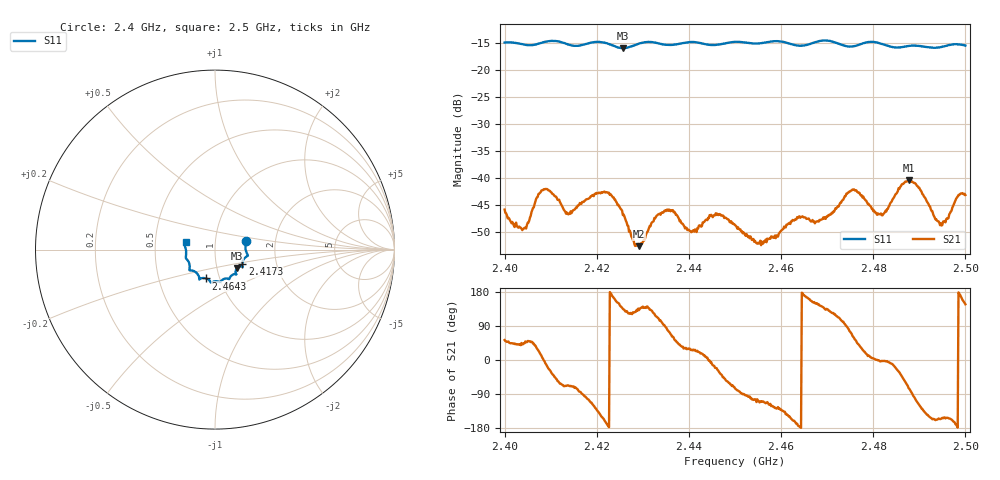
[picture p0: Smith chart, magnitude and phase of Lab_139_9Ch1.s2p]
# Hz S RI R 50
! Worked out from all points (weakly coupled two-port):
!   601 points, 2.4 GHz to 2.5 GHz, reference 50 ohm
!   highest |S21| = -40.41 dB at 2.4877 GHz (marker M1); lowest = -52.7 dB at 2.4292 GHz (marker M2)
!   lowest |S11| = -15.9 dB at 2.4257 GHz (marker M3), VSWR 1.38, Z = 62.4 - j13.1 ohm
!   |S11| at or under -10 dB: start of sweep to end of sweep
!   S12 and S22 are empty: the file has one direction only
!   S11 on the Smith chart (normalised r, x): 2.4 GHz: 1.41, +0.14; 2.4173 GHz: 1.34, -0.23; 2.4643 GHz: 0.86, -0.28; 2.5 GHz: 0.72, +0.06
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2.4e9  0.1731 0.0497  0.00309 0.00404  0 0  0 0
2.404167e9  0.171 0.0233  0.00242 0.00237  0 0  0 0
2.4085e9  0.1801 -0.0251  0.00786 -0.000166  0 0  0 0
2.413667e9  0.1681 -0.0441  0.00184 -0.00428  0 0  0 0
2.416667e9  0.1529 -0.0746  0.000225 -0.00575  0 0  0 0
2.417333e9  0.1525 -0.082  -0.000619 -0.0061  0 0  0 0
2.422167e9  0.1506 -0.0941  -0.00722 -0.00146  0 0  0 0
2.425667e9  0.1225 -0.1025  -0.00319 0.0032  0 0  0 0
2.429167e9  0.1163 -0.132  -0.00155 0.00174  0 0  0 0
2.433333e9  0.1127 -0.1367  -0.00161 0.0043  0 0  0 0
2.440667e9  0.0788 -0.1644  0.00282 0.00144  0 0  0 0
2.446333e9  0.0448 -0.1664  0.00403 -0.00208  0 0  0 0
2.45e9  0.0297 -0.1808  0.000951 -0.00353  0 0  0 0
2.455667e9  -0.00399 -0.1777  -0.000831 -0.00223  0 0  0 0
2.464333e9  -0.0504 -0.1605  -0.00434 -7.18e-05  0 0  0 0
2.466667e9  -0.0764 -0.1598  -0.00362 0.00166  0 0  0 0
2.475667e9  -0.1131 -0.1218  0.00379 0.00684  0 0  0 0
2.480833e9  -0.1426 -0.1103  0.00455 3.72e-05  0 0  0 0
2.483333e9  -0.1409 -0.0895  0.00537 -0.000552  0 0  0 0
2.487667e9  -0.1592 -0.0525  0.00261 -0.00917  0 0  0 0
2.4945e9  -0.1629 0.00444  -0.00334 -0.00148  0 0  0 0
2.5e9  -0.1636 0.0419  -0.00582 0.00377  0 0  0 0
